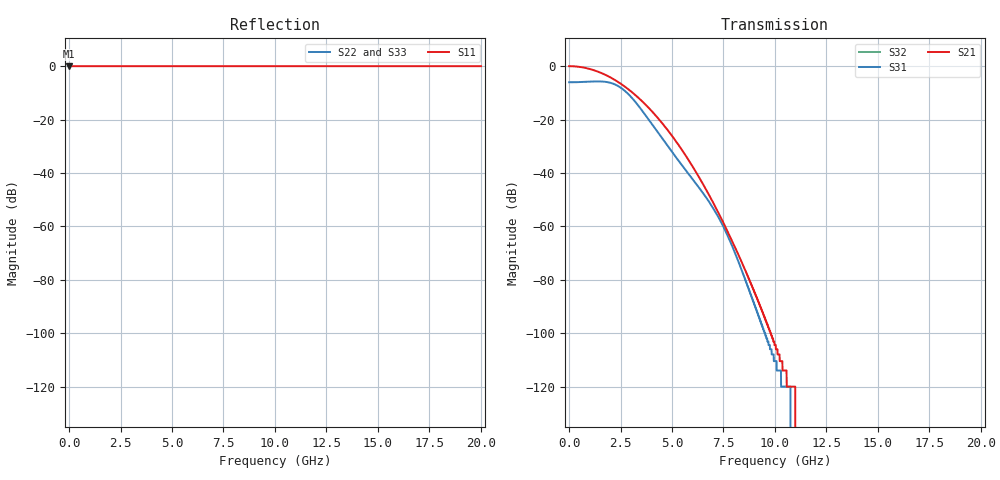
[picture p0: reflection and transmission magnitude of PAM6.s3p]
! File created by SignalIntegrity v1.4.3: Signal and Power Integrity Tools
! https://github.com/Nubis-Communications/SignalIntegrity
# MHz S MA R 50.0
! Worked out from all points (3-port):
!   8000 points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, 2.5 MHz to 20 GHz, reference 50 ohm
!   strongest paths, dB at 2.5 MHz, 5.003 GHz, 10 GHz, 15 GHz, 20 GHz:
!     S21: 0.0, -26.1, -104.4, -, -
!     S31: -6.0, -32.2, -110.5, -, -
!     S32: -, -, -, -, -
!   lowest |S11| = 0.0 dB at 2.5 MHz (marker M1)
!   |S11| at or under -10 dB: nowhere
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2.5  1 0.0  0 0.0  0 0.0
     1 0.0  0 0.0  0 0.0
     0.4995 0.0  0 0.0  0 0.0
1872.5  1 0.0  0 0.0  0 0.0
        0.6561 -0.0  0 0.0  0 0.0
        0.5018 1.6  0 0.0  0 0.0
2835  1 0.0  0 0.0  0 0.0
      0.3806 -0.0  0 0.0  0 0.0
      0.3115 -1.0  0 0.0  0 0.0
4267.5  1 0.0  0 0.0  0 0.0
        0.1121 -0.0  0 0.0  0 0.0
        0.06075 -1.3  0 0.0  0 0.0
5700  1 0.0  0 0.0  0 0.0
      0.02014 -0.0  0 0.0  0 0.0
      0.01084 1.3  0 0.0  0 0.0
7257.5  1 0.0  0 0.0  0 0.0
        0.001781 -0.0  0 0.0  0 0.0
        0.001478 0.7  0 0.0  0 0.0
8565  1 0.0  0 0.0  0 0.0
      0.000148 -0.0  0 0.0  0 0.0
      9.8e-05 -1.9  0 0.0  0 0.0
8830  1 0.0  0 0.0  0 0.0
      8.5e-05 -0.0  0 0.0  0 0.0
      5.2e-05 -1.7  0 0.0  0 0.0
10002.5  1 0.0  0 0.0  0 0.0
         6e-06 -0.0  0 0.0  0 0.0
         3e-06 0.0  0 0.0  0 0.0
20000  1 0.0  0 0.0  0 0.0
       0 -0.0  0 0.0  0 0.0
       0 -0.0  0 0.0  0 0.0
